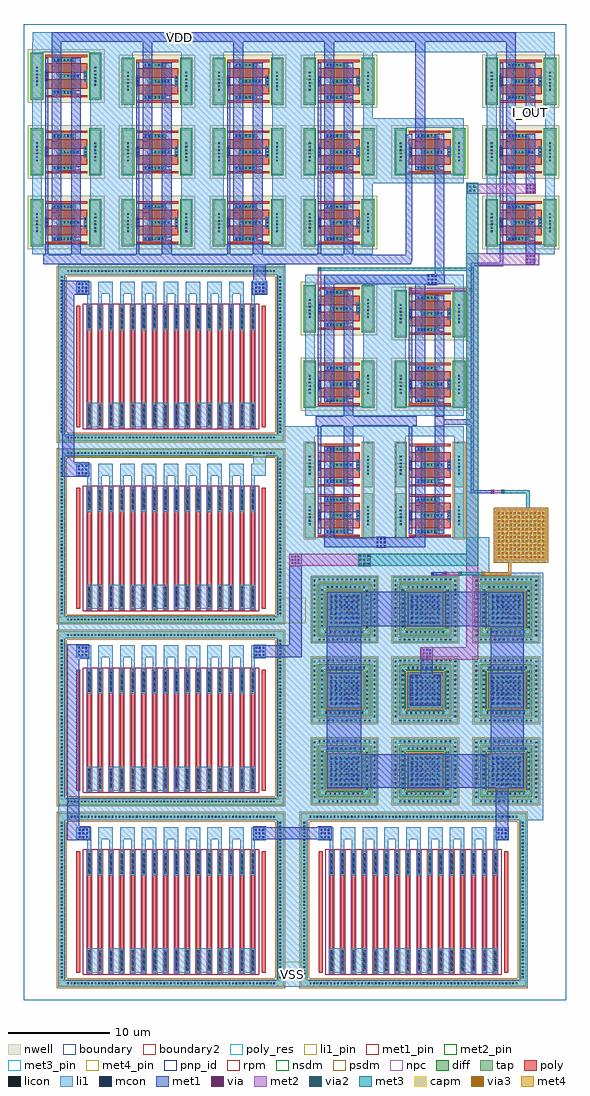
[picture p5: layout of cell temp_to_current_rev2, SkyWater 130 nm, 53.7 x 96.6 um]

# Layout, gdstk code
from math import pi, radians
import gdstk
lib = gdstk.Library(unit=1e-6, precision=1e-09)
def R(c, l, rs):  # rectangles x0, y0, x1, y1
    for r in rs: c.add(gdstk.rectangle(r[:2], r[2:], *l))
def A(c, l, x, y, w, h, nx, ny, dx, dy):  # array of equal rectangles
    R(c, l, [(x+i*dx, y+j*dy, x+i*dx+w, y+j*dy+h) for i in range(nx) for j in range(ny)])
def P(c, l, *ps):  # polygons
    for p in ps: c.add(gdstk.Polygon(p, *l))
nwell = (64, 20)
diff = (65, 20)
tap = (65, 44)
poly_res = (66, 13)
poly = (66, 20)
licon = (66, 44)
li1_pin = (67, 16)
li1 = (67, 20)
mcon = (67, 44)
met1_pin = (68, 16)
met1 = (68, 20)
via = (68, 44)
met2_pin = (69, 16)
met2 = (69, 20)
via2 = (69, 44)
met3_pin = (70, 16)
met3 = (70, 20)
via3 = (70, 44)
met4_pin = (71, 16)
met4 = (71, 20)
pnp_id = (82, 44)
rpm = (86, 20)
capm = (89, 44)
nsdm = (93, 44)
psdm = (94, 20)
npc = (95, 20)
boundary = (235, 4)
boundary2 = (236, 0)

jnwatr_nch_4c5f0 = lib.new_cell('JNWATR_NCH_4C5F0')
R(jnwatr_nch_4c5f0, diff, [(2.08,0.2,3.68,3.8)])
R(jnwatr_nch_4c5f0, tap, [(-0.48,-0.2,0.48,4.2), (5.28,-0.2,6.24,4.2)])
R(jnwatr_nch_4c5f0, poly, [(0.8,-0.11,4.96,0.11), (0.8,0.73,4.96,1.67), (0.8,1.67,1.12,2.33), (4.64,1.67,4.96,2.33), (0.8,2.33,4.96,3.27), (0.8,3.89,4.96,4.11)])
A(jnwatr_nch_4c5f0, licon, 2.285, 0.315, 0.17, 0.17, 4, 3, 0.34, 1.6)
A(jnwatr_nch_4c5f0, licon, -0.085, 1.065, 0.17, 0.17, 1, 6, 0, 0.34)
A(jnwatr_nch_4c5f0, licon, 5.675, 1.065, 0.17, 0.17, 1, 6, 0, 0.34)
A(jnwatr_nch_4c5f0, licon, 0.87, 1.575, 0.17, 0.17, 1, 3, 0, 0.34)
A(jnwatr_nch_4c5f0, licon, 4.71, 1.575, 0.17, 0.17, 1, 3, 0, 0.34)
R(jnwatr_nch_4c5f0, li1_pin, [(-0.48,1.8,0.48,2.2)])
R(jnwatr_nch_4c5f0, li1, [(-0.48,-0.2,0.48,4.2), (5.28,-0.2,6.24,4.2), (1.44,0.2,3.68,0.6), (0.8,1.4,1.12,2.6), (4.64,1.4,4.96,2.6), (2.08,1.8,4.32,2.2), (1.44,3.4,3.68,3.8)])
A(jnwatr_nch_4c5f0, mcon, 0.87, 1.555, 0.17, 0.17, 1, 3, 0, 0.36)
R(jnwatr_nch_4c5f0, mcon, [(1.655,0.315,1.825,0.485), (2.015,0.315,2.185,0.485), (3.575,1.915,3.745,2.085), (3.935,1.915,4.105,2.085), (1.655,3.515,1.825,3.685), (2.015,3.515,2.185,3.685)])
R(jnwatr_nch_4c5f0, met1_pin, [(3.36,0.2,4.32,0.6), (0.8,1.8,1.12,2.2), (1.44,3,2.4,3.4)])
R(jnwatr_nch_4c5f0, met1, [(0.8,0.2,1.12,3.8), (1.44,0.2,2.4,3.8), (3.36,0.2,4.32,3.8)])
R(jnwatr_nch_4c5f0, nsdm, [(1.955,0.075,3.805,3.925)])
R(jnwatr_nch_4c5f0, psdm, [(-0.605,-0.325,0.605,4.325), (5.155,-0.325,6.365,4.325)])
R(jnwatr_nch_4c5f0, npc, [(0.77,1.475,1.14,2.525), (4.61,1.475,4.98,2.525)])
R(jnwatr_nch_4c5f0, boundary, [(0,0,5.76,4)])
jnwatr_nch_4c5f0.add(gdstk.Label('B', (0,2), layer=67, texttype=5))
jnwatr_nch_4c5f0.add(gdstk.Label('G', (0.96,2), layer=68, texttype=5))
jnwatr_nch_4c5f0.add(gdstk.Label('S', (1.92,3.2), layer=68, texttype=5))
jnwatr_nch_4c5f0.add(gdstk.Label('D', (3.84,0.4), layer=68, texttype=5))

jnwatr_pch_4c5f0 = lib.new_cell('JNWATR_PCH_4C5F0')
R(jnwatr_pch_4c5f0, nwell, [(-0.92,-0.64,6.68,4.64)])
R(jnwatr_pch_4c5f0, diff, [(2.08,0.2,3.68,3.8)])
R(jnwatr_pch_4c5f0, tap, [(-0.48,-0.2,0.48,4.2), (5.28,-0.2,6.24,4.2)])
R(jnwatr_pch_4c5f0, poly, [(0.8,-0.11,4.96,0.11), (0.8,0.73,4.96,1.67), (0.8,1.67,1.12,2.33), (4.64,1.67,4.96,2.33), (0.8,2.33,4.96,3.27), (0.8,3.89,4.96,4.11)])
A(jnwatr_pch_4c5f0, licon, 2.285, 0.315, 0.17, 0.17, 4, 3, 0.34, 1.6)
A(jnwatr_pch_4c5f0, licon, -0.085, 1.065, 0.17, 0.17, 1, 6, 0, 0.34)
A(jnwatr_pch_4c5f0, licon, 5.675, 1.065, 0.17, 0.17, 1, 6, 0, 0.34)
A(jnwatr_pch_4c5f0, licon, 0.87, 1.575, 0.17, 0.17, 1, 3, 0, 0.34)
A(jnwatr_pch_4c5f0, licon, 4.71, 1.575, 0.17, 0.17, 1, 3, 0, 0.34)
R(jnwatr_pch_4c5f0, li1_pin, [(-0.48,1.8,0.48,2.2)])
R(jnwatr_pch_4c5f0, li1, [(-0.48,-0.2,0.48,4.2), (5.28,-0.2,6.24,4.2), (1.44,0.2,3.68,0.6), (0.8,1.4,1.12,2.6), (4.64,1.4,4.96,2.6), (2.08,1.8,4.32,2.2), (1.44,3.4,3.68,3.8)])
A(jnwatr_pch_4c5f0, mcon, 0.87, 1.555, 0.17, 0.17, 1, 3, 0, 0.36)
R(jnwatr_pch_4c5f0, mcon, [(1.655,0.315,1.825,0.485), (2.015,0.315,2.185,0.485), (3.575,1.915,3.745,2.085), (3.935,1.915,4.105,2.085), (1.655,3.515,1.825,3.685), (2.015,3.515,2.185,3.685)])
R(jnwatr_pch_4c5f0, met1_pin, [(3.36,0.2,4.32,0.6), (0.8,1.8,1.12,2.2), (1.44,3,2.4,3.4)])
R(jnwatr_pch_4c5f0, met1, [(0.8,0.2,1.12,3.8), (1.44,0.2,2.4,3.8), (3.36,0.2,4.32,3.8)])
R(jnwatr_pch_4c5f0, nsdm, [(-0.605,-0.325,0.605,4.325), (5.155,-0.325,6.365,4.325)])
R(jnwatr_pch_4c5f0, psdm, [(1.955,0.075,3.805,3.925)])
R(jnwatr_pch_4c5f0, npc, [(0.77,1.475,1.14,2.525), (4.61,1.475,4.98,2.525)])
R(jnwatr_pch_4c5f0, boundary, [(0,0,5.76,4)])
jnwatr_pch_4c5f0.add(gdstk.Label('B', (0,2), layer=67, texttype=5))
jnwatr_pch_4c5f0.add(gdstk.Label('G', (0.96,2), layer=68, texttype=5))
jnwatr_pch_4c5f0.add(gdstk.Label('S', (1.92,3.2), layer=68, texttype=5))
jnwatr_pch_4c5f0.add(gdstk.Label('D', (3.84,0.4), layer=68, texttype=5))

jnwtr_res16 = lib.new_cell('JNWTR_RES16')
A(jnwtr_res16, poly_res, 0.9, 1.72, 0.36, 7.36, 16, 1, 1.08, 0)
A(jnwtr_res16, poly, -0.18, -0.6, 0.36, 12, 18, 1, 1.08, 0)
A(jnwtr_res16, licon, 0.985, -0.4, 0.19, 2, 16, 2, 1.08, 9.6)
R(jnwtr_res16, li1_pin, [(-0.18,12.6,1.26,13.8), (17.1,12.6,18.54,13.8)])
A(jnwtr_res16, li1, 0.9, -0.6, 1.44, 2.4, 8, 1, 2.16, 0)
A(jnwtr_res16, li1, 0.9, 9, 0.36, 3.6, 16, 1, 1.08, 0)
A(jnwtr_res16, li1, -0.18, 12.6, 1.44, 1.2, 9, 1, 2.16, 0)
R(jnwtr_res16, rpm, [(0.445,-0.8,17.915,11.6)])
A(jnwtr_res16, psdm, 0.79, -0.71, 0.58, 12.22, 16, 1, 1.08, 0)
A(jnwtr_res16, npc, 0.805, -0.695, 0.55, 12.19, 16, 1, 1.08, 0)
R(jnwtr_res16, boundary, [(0,0,18.36,13.2)])
jnwtr_res16.add(gdstk.Label('P', (17.82,13.2), layer=67, texttype=5))
jnwtr_res16.add(gdstk.Label('N', (0.54,13.2), layer=67, texttype=5))

jnwtr_rppo16 = lib.new_cell('JNWTR_RPPO16')
R(jnwtr_rppo16, tap, [(0,0,22.36,0.72), (0,0.72,0.72,16.48), (21.64,0.72,22.36,16.48), (0,16.48,22.36,17.2)])
A(jnwtr_rppo16, licon, 0.895, 0.275, 0.17, 0.17, 61, 2, 0.34, 16.48)
A(jnwtr_rppo16, licon, 0.275, 0.865, 0.17, 0.17, 1, 46, 0, 0.34)
A(jnwtr_rppo16, licon, 21.915, 0.865, 0.17, 0.17, 1, 46, 0, 0.34)
R(jnwtr_rppo16, li1_pin, [(0.08,0.08,22.28,0.64), (1.82,14.6,3.26,15.8), (19.1,14.6,20.54,15.8)])
R(jnwtr_rppo16, li1, [(0.08,0.08,22.28,0.64), (0.08,0.64,0.64,16.56), (21.72,0.64,22.28,16.56), (1.82,14.6,3.26,15.8), (19.1,14.6,20.54,15.8), (0.08,16.56,22.28,17.12)])
R(jnwtr_rppo16, psdm, [(-0.125,-0.125,22.485,0.845), (-0.125,0.845,0.845,16.355), (21.515,0.845,22.485,16.355), (-0.125,16.355,22.485,17.325)])
R(jnwtr_rppo16, boundary, [(0,0,22.36,17.2)])
jnwtr_rppo16.add(gdstk.Reference(jnwtr_res16, (2,2)))
jnwtr_rppo16.add(gdstk.Label('B', (11.18,0.36), layer=67, texttype=5))
jnwtr_rppo16.add(gdstk.Label('N', (2.54,15.2), layer=67, texttype=5))
jnwtr_rppo16.add(gdstk.Label('P', (19.82,15.2), layer=67, texttype=5))

amplifier_rev2 = lib.new_cell('amplifier_rev2')
R(amplifier_rev2, li1_pin, [(17,-17,19.5,-14.5)])
A(amplifier_rev2, li1, -1, 20.48, 3, 3.04, 3, 1, 9, 0)
A(amplifier_rev2, li1, -1.8, 23.52, 4.2, 11.96, 3, 1, 9, 0)
A(amplifier_rev2, li1, -1, 35.48, 3, 2.16, 3, 1, 9, 0)
A(amplifier_rev2, li1, -1.8, 37.64, 4.2, 1.88, 3, 1, 9, 0)
R(amplifier_rev2, li1, [(-5,-17,19.5,-16.5), (-5,-16.5,-4.5,0), (17,-16.5,19.5,-9.48), (17,-9.48,35.16,-8.52), (17,-8.52,20.4,-7.52), (26,-8.52,29,-5.48), (34.2,-8.52,35.16,-7.52), (17,-7.52,20,-5.48), (17,-5.48,20.4,-2.52), (25.2,-5.48,29.4,-2.52), (34.2,-5.48,35.16,-2.52), (17,-2.52,20,-0.36), (26,-2.52,29,-0.36), (-3.18,-2.4,-1.98,-1.2), (14.34,-2.4,15.54,-0.4), (17,-0.36,20.4,0), (25.2,-0.36,29.4,1.52), (34.2,-0.36,35.16,1.52), (-5,0,20.4,1.5), (-5,1.5,-4.5,18), (17,1.5,20.4,1.52), (17,1.52,35.16,2), (19.44,2,35.16,2.48), (19.44,3.52,35.16,4.48), (19.44,4.48,20.4,5.48), (26,4.48,29,7.52), (34.2,4.48,35.16,5.48), (19.44,7.52,20.4,12.48), (25.2,7.52,29,7.64), (25.2,7.64,29.4,12.48), (34.2,7.64,35.16,12.48), (26,12.48,29,14.64), (19.44,14.64,20.4,16.52), (25.2,14.64,29.4,16.52), (34.2,14.64,35.16,16.52), (-3.18,15.6,-1.98,16.8), (14.34,15.6,15.54,16.8), (19.44,16.52,35.16,17.48), (-7.56,19.52,26.16,20.48), (-7.56,20.48,-6.6,21.48), (25.2,20.48,26.16,21.48), (-7.56,23.52,-6.6,35.48), (25.2,23.52,26.16,26.52), (25.2,26.52,35.16,27.48), (25.2,27.48,29,30.64), (34.2,27.48,35.16,28.48), (25.2,30.64,29.4,32.02), (34.2,30.64,35.16,32.02), (25.2,32.02,35.16,32.98), (25.2,32.98,26.16,35.48), (-7.56,37.64,-6.6,39.52), (25.2,37.64,26.16,39.52), (-7.56,39.52,26.16,40.48), (-7.5,40.48,26,41.5)])
A(amplifier_rev2, mcon, 26.525, -9.445, 0.17, 0.17, 3, 3, 0.36, 0.36)
A(amplifier_rev2, mcon, -3.025, -2.245, 0.17, 0.17, 3, 3, 0.36, 0.36)
A(amplifier_rev2, mcon, -3.025, 15.755, 0.17, 0.17, 3, 3, 0.36, 0.36)
A(amplifier_rev2, mcon, 14.495, 15.755, 0.17, 0.17, 3, 3, 0.36, 0.36)
A(amplifier_rev2, mcon, 31.585, 16.555, 0.17, 0.17, 3, 3, 0.36, 0.36)
A(amplifier_rev2, mcon, 6.555, 40.555, 0.17, 0.17, 3, 3, 0.36, 0.36)
R(amplifier_rev2, met1_pin, [(32.28,2.5,33.24,3.46), (6.52,40.52,7.48,41.48)])
A(amplifier_rev2, met1, 2.72, 19.48, 0.32, 18.68, 3, 1, 9, 0)
A(amplifier_rev2, met1, -5.64, 22.52, 0.96, 13.96, 4, 1, 9, 0)
A(amplifier_rev2, met1, -5.64, 36.52, 0.96, 4, 4, 1, 9, 0)
R(amplifier_rev2, met1, [(26.49,-9.54,27.45,-9.48), (21.36,-9.48,22.32,-9.47), (25.58,-9.48,31.32,-9.47), (21.36,-9.47,31.32,-8.53), (21.36,-8.53,22.32,-6.52), (25.58,-8.53,31.32,-8.52), (26.49,-8.52,27.45,-8.46), (30.36,-8.52,31.32,-6.52), (21.36,-6.48,22.32,-1.52), (30.36,-5.88,31.32,-1.52), (32.28,-5.52,33.24,-2.52), (23.28,-5.48,24.24,-1.52), (20.72,-5.16,21.04,-2.84), (29.72,-5.16,30.04,-2.84), (-4.6,-2.5,-1.9,-1.1), (23.28,-1.48,24.24,2.52), (-4.6,-1.1,-3.4,15.5), (32.28,-0.48,33.24,6.48), (20.72,-0.16,21.04,2.52), (29.72,-0.16,30.04,2.52), (20.52,2.52,30.48,3.48), (23.28,3.48,24.24,6.48), (21.36,6.52,22.32,13.48), (30.36,6.52,31.32,13.48), (32.28,6.52,33.24,13.48), (29.72,6.84,30.04,16.19), (23.28,7.48,24.24,12.48), (20.72,7.84,21.04,16.19), (21.36,13.52,22.32,16.52), (30.36,13.52,31.32,16.52), (-4.6,15.5,-1.9,16.9), (14.2,15.5,15.7,16.9), (31.55,16.46,32.51,16.52), (21.36,16.52,33.28,17.48), (14.34,16.9,15.54,18.52), (31.55,17.48,33.24,17.54), (32.28,17.54,33.24,29.48), (-6.48,18.52,29.98,18.84), (-6.48,18.84,30.04,19.48), (-6.28,19.48,-5.96,21.16), (-3.72,19.48,-2.76,21.8), (5.28,19.48,6.24,22.48), (14.28,19.48,15.24,22.48), (23.28,19.48,24.24,21.8), (29.4,19.48,30.04,31.32), (14.28,22.8,15.24,35.48), (5.27,23.47,6.25,35.49), (-3.72,23.48,-2.76,35.48), (23.28,23.48,24.24,35.48), (-6.28,23.84,-5.96,36.16), (30.36,29.52,31.32,40.52), (-5.64,40.52,31.36,41.48)])
R(amplifier_rev2, via, [(20.805,15.925,20.955,16.075), (29.805,15.925,29.955,16.075)])
R(amplifier_rev2, met2_pin, [(35.68,15.84,36,16.16)])
R(amplifier_rev2, met2, [(20.69,15.84,21.07,16.16), (29.69,15.84,36,16.16), (20.72,16.16,21.04,18.205)])
R(amplifier_rev2, via2, [(20.78,17.92,20.98,18.12)])
R(amplifier_rev2, met3_pin, [(35.67,17.86,35.99,18.18)])
R(amplifier_rev2, met3, [(20.695,17.855,21.065,17.86), (20.695,17.86,35.99,18.18), (20.695,18.18,21.065,18.185)])
R(amplifier_rev2, psdm, [(19.315,-4.035,20.525,-3.685), (25.075,-4.035,26.285,-3.685), (28.315,-4.035,29.525,-3.685), (34.075,-4.035,35.285,-3.685)])
R(amplifier_rev2, boundary, [(-7.95,-16.85,36,41.6)])
amplifier_rev2.add(gdstk.Reference(jnwatr_nch_4c5f0, (19.92,-8.36)))
amplifier_rev2.add(gdstk.Reference(jnwatr_nch_4c5f0, (28.92,-8.36)))
amplifier_rev2.add(gdstk.Reference(jnwatr_pch_4c5f0, (10.92,20.64)))
amplifier_rev2.add(gdstk.Reference(jnwatr_nch_4c5f0, (28.92,-3.36)))
amplifier_rev2.add(gdstk.Reference(jnwatr_nch_4c5f0, (19.92,-3.36)))
amplifier_rev2.add(gdstk.Reference(jnwatr_pch_4c5f0, (1.92,34.64)))
amplifier_rev2.add(gdstk.Reference(jnwatr_pch_4c5f0, (19.92,27.64)))
amplifier_rev2.add(gdstk.Reference(jnwatr_pch_4c5f0, (10.92,27.64)))
amplifier_rev2.add(gdstk.Reference(jnwtr_rppo16, (17.36,-17), rotation=pi, x_reflection=True))
amplifier_rev2.add(gdstk.Reference(jnwatr_pch_4c5f0, (28.92,4.64)))
amplifier_rev2.add(gdstk.Reference(jnwatr_pch_4c5f0, (-7.08,20.64)))
amplifier_rev2.add(gdstk.Reference(jnwatr_pch_4c5f0, (28.92,27.64)))
amplifier_rev2.add(gdstk.Reference(jnwatr_pch_4c5f0, (-7.08,27.64)))
amplifier_rev2.add(gdstk.Reference(jnwatr_pch_4c5f0, (28.92,11.64)))
amplifier_rev2.add(gdstk.Reference(jnwtr_rppo16, (-5,1)))
amplifier_rev2.add(gdstk.Reference(jnwatr_pch_4c5f0, (19.92,12.14)))
amplifier_rev2.add(gdstk.Reference(jnwatr_pch_4c5f0, (-7.08,35.14)))
amplifier_rev2.add(gdstk.Reference(jnwatr_pch_4c5f0, (1.92,20.64)))
amplifier_rev2.add(gdstk.Reference(jnwatr_pch_4c5f0, (19.92,4.64)))
amplifier_rev2.add(gdstk.Reference(jnwatr_pch_4c5f0, (1.92,27.64)))
amplifier_rev2.add(gdstk.Reference(jnwatr_pch_4c5f0, (19.92,34.64)))
amplifier_rev2.add(gdstk.Reference(jnwatr_pch_4c5f0, (10.92,34.64)))
amplifier_rev2.add(gdstk.Reference(jnwatr_pch_4c5f0, (19.92,20.64)))
amplifier_rev2.add(gdstk.Label('VSS', (18.25,-15.75), layer=67, texttype=5))
amplifier_rev2.add(gdstk.Label('VINP', (35.83,18.02), layer=70, texttype=5))
amplifier_rev2.add(gdstk.Label('VOUT', (32.76,2.98), layer=68, texttype=5))
amplifier_rev2.add(gdstk.Label('VDD', (7,41), layer=68, texttype=5))
amplifier_rev2.add(gdstk.Label('VINN', (35.84,16), layer=69, texttype=5))

sky130_fd_pr__rf_pnp_05v = lib.new_cell('sky130_fd_pr__rf_pnp_05v5_W3p40L3p40')
R(sky130_fd_pr__rf_pnp_05v, nwell, [(0.765,0.765,5.935,5.935)])
R(sky130_fd_pr__rf_pnp_05v, diff, [(1.65,1.65,5.05,5.05)])
P(sky130_fd_pr__rf_pnp_05v, tap, [(0.13,0.13),(0.13,6.57),(6.065,6.57),(6.065,6.065),(0.635,6.065),(0.635,0.635),(6.065,0.635),(6.065,6.57),(6.57,6.57),(6.57,0.13)],
  [(0.945,0.945),(0.945,5.755),(5.395,5.755),(5.395,5.395),(1.305,5.395),(1.305,1.305),(5.395,1.305),(5.395,5.755),(5.755,5.755),(5.755,0.945)])
A(sky130_fd_pr__rf_pnp_05v, licon, 0.78, 0.29, 0.17, 0.17, 12, 2, 0.45, 5.935)
A(sky130_fd_pr__rf_pnp_05v, licon, 0.3, 0.71, 0.17, 0.17, 1, 13, 0, 0.45)
A(sky130_fd_pr__rf_pnp_05v, licon, 6.235, 0.71, 0.17, 0.17, 1, 13, 0, 0.45)
A(sky130_fd_pr__rf_pnp_05v, licon, 1.43, 1.04, 0.17, 0.17, 9, 1, 0.45, 0)
A(sky130_fd_pr__rf_pnp_05v, licon, 5.49, 1.51, 0.17, 0.17, 1, 9, 0, 0.45)
A(sky130_fd_pr__rf_pnp_05v, licon, 1.04, 1.605, 0.17, 0.17, 1, 9, 0, 0.45)
A(sky130_fd_pr__rf_pnp_05v, licon, 1.92, 1.92, 0.17, 0.17, 7, 7, 0.45, 0.45)
A(sky130_fd_pr__rf_pnp_05v, licon, 1.6, 5.49, 0.17, 0.17, 9, 1, 0.45, 0)
R(sky130_fd_pr__rf_pnp_05v, li1_pin, [(2.77,3.13,4.01,3.65), (2.95,5.51,3.54,5.71), (3.065,6.26,3.57,6.505)])
A(sky130_fd_pr__rf_pnp_05v, li1, 0.58, 0.21, 0.33, 0.33, 12, 1, 0.45, 0)
A(sky130_fd_pr__rf_pnp_05v, li1, 0.675, 0.24, 0.27, 0.27, 11, 2, 0.5, 5.96)
A(sky130_fd_pr__rf_pnp_05v, li1, 6.16, 0.54, 0.33, 0.33, 1, 13, 0, 0.45)
A(sky130_fd_pr__rf_pnp_05v, li1, 0.22, 0.63, 0.33, 0.33, 1, 13, 0, 0.45)
A(sky130_fd_pr__rf_pnp_05v, li1, 1.35, 0.96, 0.33, 0.33, 9, 1, 0.45, 0)
A(sky130_fd_pr__rf_pnp_05v, li1, 1.14, 0.985, 0.27, 0.27, 9, 1, 0.5, 0)
A(sky130_fd_pr__rf_pnp_05v, li1, 5.41, 1.43, 0.33, 0.33, 1, 9, 0, 0.45)
A(sky130_fd_pr__rf_pnp_05v, li1, 0.96, 1.525, 0.33, 0.33, 1, 9, 0, 0.45)
A(sky130_fd_pr__rf_pnp_05v, li1, 1.84, 1.84, 0.33, 0.33, 7, 7, 0.45, 0.45)
A(sky130_fd_pr__rf_pnp_05v, li1, 1.93, 1.93, 0.27, 0.27, 6, 6, 0.5, 0.5)
A(sky130_fd_pr__rf_pnp_05v, li1, 1.52, 5.41, 0.33, 0.33, 9, 1, 0.45, 0)
A(sky130_fd_pr__rf_pnp_05v, li1, 1.155, 5.44, 0.27, 0.27, 9, 1, 0.5, 0)
A(sky130_fd_pr__rf_pnp_05v, li1, 0.7, 6.165, 0.33, 0.33, 12, 1, 0.45, 0)
R(sky130_fd_pr__rf_pnp_05v, li1, [(1.615,1.615,5.085,5.085), (1.65,1.65,5.05,5.05)])
P(sky130_fd_pr__rf_pnp_05v, li1, [(0.945,0.945),(0.945,5.755),(5.395,5.755),(5.395,5.395),(1.305,5.395),(1.305,1.305),(5.395,1.305),(5.395,5.755),(5.755,5.755),(5.755,0.945)],
  [(0.13,0.13),(0.13,6.57),(6.075,6.57),(6.075,6.075),(0.625,6.075),(0.625,0.625),(6.075,0.625),(6.075,6.57),(6.57,6.57),(6.57,0.13)])
A(sky130_fd_pr__rf_pnp_05v, mcon, 1.98, 1.98, 0.17, 0.17, 6, 6, 0.5, 0.5)
A(sky130_fd_pr__rf_pnp_05v, met1, 1.93, 1.93, 0.27, 0.27, 6, 6, 0.5, 0.5)
R(sky130_fd_pr__rf_pnp_05v, met1, [(1.825,1.825,4.875,4.875)])
R(sky130_fd_pr__rf_pnp_05v, pnp_id, [(0.135,0.135,6.565,6.565)])
P(sky130_fd_pr__rf_pnp_05v, nsdm, [(0.805,0.805),(0.805,5.895),(5.265,5.895),(5.265,5.265),(1.435,5.265),(1.435,1.435),(5.265,1.435),(5.265,5.895),(5.895,5.895),(5.895,0.805)])
R(sky130_fd_pr__rf_pnp_05v, psdm, [(1.52,1.52,5.18,5.18)])
P(sky130_fd_pr__rf_pnp_05v, psdm, [(0,0),(0,6.7),(5.935,6.7),(5.935,5.935),(0.765,5.935),(0.765,0.765),(5.935,0.765),(5.935,6.7),(6.7,6.7),(6.7,0)])
R(sky130_fd_pr__rf_pnp_05v, boundary2, [(0.13,0.13,6.57,6.57)])
sky130_fd_pr__rf_pnp_05v.add(gdstk.Label('Base', (3.245,5.61), layer=67, texttype=5))
sky130_fd_pr__rf_pnp_05v.add(gdstk.Label('Collector', (3.32,6.38), layer=67, texttype=5))
sky130_fd_pr__rf_pnp_05v.add(gdstk.Label('Emitter', (3.39,3.39), layer=67, texttype=5))

jnwtr_capx1 = lib.new_cell('JNWTR_CAPX1')
R(jnwtr_capx1, met3_pin, [(0,0,5.4,0.5)])
R(jnwtr_capx1, met3, [(0,0,5.4,5.4)])
A(jnwtr_capx1, via3, 0.4, 0.4, 0.2, 0.2, 12, 12, 0.4, 0.4)
R(jnwtr_capx1, met4_pin, [(0,0,5.4,0.5)])
R(jnwtr_capx1, met4, [(0,0,5.4,5.4)])
R(jnwtr_capx1, capm, [(0.2,0.2,5.2,5.2)])
R(jnwtr_capx1, boundary, [(0,0,5.4,5.4)])
jnwtr_capx1.add(gdstk.Label('A', (2.7,0.25), layer=70, texttype=5))
jnwtr_capx1.add(gdstk.Label('B', (2.7,0.25), layer=71, texttype=5))

temp_to_current_rev2 = lib.new_cell('temp_to_current_rev2')
R(temp_to_current_rev2, li1_pin, [(22,-54,24.5,-51.5)])
A(temp_to_current_rev2, li1, 46.5, -35, 1.5, 4.5, 1, 3, 0, 8)
R(temp_to_current_rev2, li1, [(0,-54,46.5,-53.5), (0,-53.5,0.5,-37.5), (22,-53.5,24.5,-37.5), (46,-53.5,46.5,-37.5), (1.9,-39.4,3.1,-38.2), (19.34,-39.4,20.54,-38.2), (25.82,-39.4,27.02,-38.2), (43.34,-39.4,44.54,-38.2), (0,-37.5,48,-35.5), (0,-35.5,0.5,-19.5), (21.255,-35.5,48,-35.375), (22,-35.375,48,-35), (22,-35,26,-30.68), (30.5,-35,34,-30.605), (38.5,-35,42,-30.68), (22,-30.68,26.305,-30.5), (38.5,-30.68,42.305,-30.605), (30.32,-30.605,42.305,-30.5), (22,-30.5,48,-27), (22,-27,26.305,-22.5), (30.395,-27,34.68,-26.695), (38.5,-27,42.305,-22.5), (30.5,-26.695,34,-22.5), (22,-22.5,48,-19.5), (1.82,-21.4,3.02,-20.2), (19.4,-21.4,20.54,-20.2), (0,-19.5,48,-19), (0,-19,26.305,-18.695), (29.82,-19,42.68,-18.695), (0,-18.695,26,-17.5), (30.5,-18.695,34,-14.5), (38.5,-18.695,42.305,-18.32), (38.5,-18.32,42,-14.5), (22,-17.5,26,-14.5), (22,-14.5,48,-13), (22,-13,42.68,-10.5), (23,-10.5,42.68,-10), (25,-10,42.68,-9.5), (39.2,-9.5,40.16,-9.48), (19.34,-3.4,20.54,0.1), (22,0,22.5,0.52), (22,0.52,26.98,1.48), (22,1.48,22.5,16.5), (0,16.5,22.5,17.5), (42.44,18.52,49.16,19.48), (42.44,19.48,43.4,20.48), (48.2,19.48,49.16,20.48), (42.44,22.88,43.4,34.48), (48.2,22.88,49.16,34.98), (42.44,36.64,43.4,38.52), (48.2,36.88,49.16,38.52), (28.51,38.52,49.16,40.5)])
A(temp_to_current_rev2, mcon, 2.055, -39.245, 0.17, 0.17, 3, 3, 0.36, 0.36)
A(temp_to_current_rev2, mcon, 19.495, -39.245, 0.17, 0.17, 3, 3, 0.36, 0.36)
A(temp_to_current_rev2, mcon, 25.975, -39.245, 0.17, 0.17, 3, 3, 0.36, 0.36)
A(temp_to_current_rev2, mcon, 43.495, -39.245, 0.17, 0.17, 3, 3, 0.36, 0.36)
A(temp_to_current_rev2, mcon, 1.975, -21.245, 0.17, 0.17, 3, 3, 0.36, 0.36)
A(temp_to_current_rev2, mcon, 19.525, -21.245, 0.17, 0.17, 3, 3, 0.36, 0.36)
R(temp_to_current_rev2, mcon, [(37.015,-13.185,37.185,-13.015)])
R(temp_to_current_rev2, met1_pin, [(46.28,32.02,47.24,32.98), (11.52,39.52,12.48,40.48)])
R(temp_to_current_rev2, met1, [(0.9,-39.5,3.2,-38.1), (19.3,-39.5,20.6,-39.4), (25.7,-39.5,27.1,-39.4), (43.3,-39.5,44.6,-38.1), (19.3,-39.4,27.1,-38.2), (19.3,-38.2,20.6,-38.1), (25.7,-38.2,27.1,-38.1), (0.9,-38.1,2.1,-21.5), (43.34,-38.1,44.54,-34.3), (26.6,-34.3,46.1,-31), (26.6,-31,30,-18.3), (42.8,-31,46.1,-18.3), (35.9,-23.6,37.1,-20.37), (0.9,-21.5,3.1,-20.1), (19.37,-21.46,20.57,-21.4), (19.37,-21.4,24.1,-20.2), (19.37,-20.2,20.57,-20.14), (22.9,-20.2,24.1,-12.34), (26.6,-18.3,46.1,-14.9), (38.15,-13.28,38.45,-13.25), (36.92,-13.25,38.45,-12.95), (38.15,-12.95,38.45,-12.92), (22.87,-12.34,24.13,-11.14), (40.84,-5.16,43.19,-4.84), (40.84,-4.84,41.16,1.64), (25.52,1.52,27.38,2.48), (38.24,1.64,41.16,1.84), (37.34,1.84,41.16,2.16), (40.84,2.16,41.16,17.34), (40.84,17.34,44.04,17.66), (46.28,17.49,47.24,20.98), (43.72,17.66,44.04,34.66), (44.36,21.52,45.32,39.52), (46.28,24.49,47.24,27.98), (46.28,32.02,47.24,34.98), (11.37,39.52,45.32,40.48)])
A(temp_to_current_rev2, via, 36.105, -21.395, 0.15, 0.15, 3, 3, 0.32, 0.32)
A(temp_to_current_rev2, via, 23.105, -12.135, 0.15, 0.15, 3, 3, 0.32, 0.32)
A(temp_to_current_rev2, via, 46.365, 17.605, 0.15, 0.15, 3, 3, 0.32, 0.32)
A(temp_to_current_rev2, via, 46.365, 24.605, 0.15, 0.15, 3, 3, 0.32, 0.32)
R(temp_to_current_rev2, via, [(38.225,-13.175,38.375,-13.025), (42.925,-5.075,43.075,-4.925)])
R(temp_to_current_rev2, met2, [(35.87,-21.6,41.6,-20.4), (40.4,-20.4,41.6,17.4), (39.66,-13.285,39.94,-13.25), (38.12,-13.25,39.95,-12.95), (39.66,-12.95,39.94,-12.915), (22.9,-12.37,24.1,-12.34), (22.9,-12.34,30.945,-11.14), (22.9,-11.14,24.1,-11.11), (42.84,-5.19,43.16,-5.16), (42.84,-5.16,44.205,-4.84), (42.84,-4.84,43.16,-4.81), (40.4,17.4,47.6,18.6), (40.475,24.52,47.27,25.48)])
A(temp_to_current_rev2, via2, 29.825, -12.24, 0.2, 0.2, 3, 3, 0.4, 0.4)
R(temp_to_current_rev2, via2, [(39.7,-13.2,39.9,-13), (43.92,-5.1,44.12,-4.9), (40.675,24.7,40.875,24.9), (41.075,24.7,41.275,24.9), (40.675,25.1,40.875,25.3), (41.075,25.1,41.275,25.3)])
R(temp_to_current_rev2, met3, [(41.94,-13.29,42.26,-13.25), (39.635,-13.265,39.965,-13.25), (39.635,-13.25,42.26,-12.95), (39.635,-12.95,39.965,-12.935), (41.94,-12.95,42.26,-12.91), (29.725,-12.365,30.925,-12.34), (29.725,-12.34,41.6,-11.14), (29.725,-11.14,30.925,-11.115), (40.4,-11.14,41.6,25.6), (46.34,-7.66,46.68,-6.6), (46.34,-6.6,46.66,-5.16), (43.855,-5.185,44.185,-5.16), (43.84,-5.16,46.66,-4.84), (43.855,-4.84,44.185,-4.815)])
R(temp_to_current_rev2, via3, [(42,-13.2,42.2,-13)])
R(temp_to_current_rev2, met4, [(41.935,-13.265,42.265,-13.25), (41.935,-13.25,44.85,-12.95), (41.935,-12.95,42.265,-12.935), (44.55,-12.95,44.85,-11.7)])
R(temp_to_current_rev2, boundary, [(-3.4,-55.3,50.3,41.3)])
temp_to_current_rev2.add(gdstk.Reference(amplifier_rev2, (5,-1)))
temp_to_current_rev2.add(gdstk.Reference(sky130_fd_pr__rf_pnp_05v, (41,-28)))
temp_to_current_rev2.add(gdstk.Reference(sky130_fd_pr__rf_pnp_05v, (25,-36)))
temp_to_current_rev2.add(gdstk.Reference(sky130_fd_pr__rf_pnp_05v, (25,-28)))
temp_to_current_rev2.add(gdstk.Reference(jnwtr_rppo16, (0,-36)))
temp_to_current_rev2.add(gdstk.Reference(jnwatr_pch_4c5f0, (42.92,33.64)))
temp_to_current_rev2.add(gdstk.Reference(sky130_fd_pr__rf_pnp_05v, (33,-36)))
temp_to_current_rev2.add(gdstk.Reference(jnwtr_rppo16, (22.36,-54), rotation=pi, x_reflection=True))
temp_to_current_rev2.add(gdstk.Reference(sky130_fd_pr__rf_pnp_05v, (25,-20)))
temp_to_current_rev2.add(gdstk.Reference(jnwtr_rppo16, (46.36,-54), rotation=pi, x_reflection=True))
temp_to_current_rev2.add(gdstk.Reference(sky130_fd_pr__rf_pnp_05v, (41,-36)))
temp_to_current_rev2.add(gdstk.Reference(jnwtr_capx1, (43.1,-12)))
temp_to_current_rev2.add(gdstk.Reference(sky130_fd_pr__rf_pnp_05v, (41,-20)))
temp_to_current_rev2.add(gdstk.Reference(jnwatr_pch_4c5f0, (42.92,26.64)))
temp_to_current_rev2.add(gdstk.Reference(jnwatr_pch_4c5f0, (42.92,19.64)))
temp_to_current_rev2.add(gdstk.Reference(sky130_fd_pr__rf_pnp_05v, (33,-28)))
temp_to_current_rev2.add(gdstk.Reference(sky130_fd_pr__rf_pnp_05v, (33,-20)))
temp_to_current_rev2.add(gdstk.Label('VSS', (23.25,-52.75), layer=67, texttype=5))
temp_to_current_rev2.add(gdstk.Label('VDD', (12,40), layer=68, texttype=5))
temp_to_current_rev2.add(gdstk.Label('I_OUT', (46.76,32.5), layer=68, texttype=5))

lib.write_gds('temp_to_current_rev2.gds')
